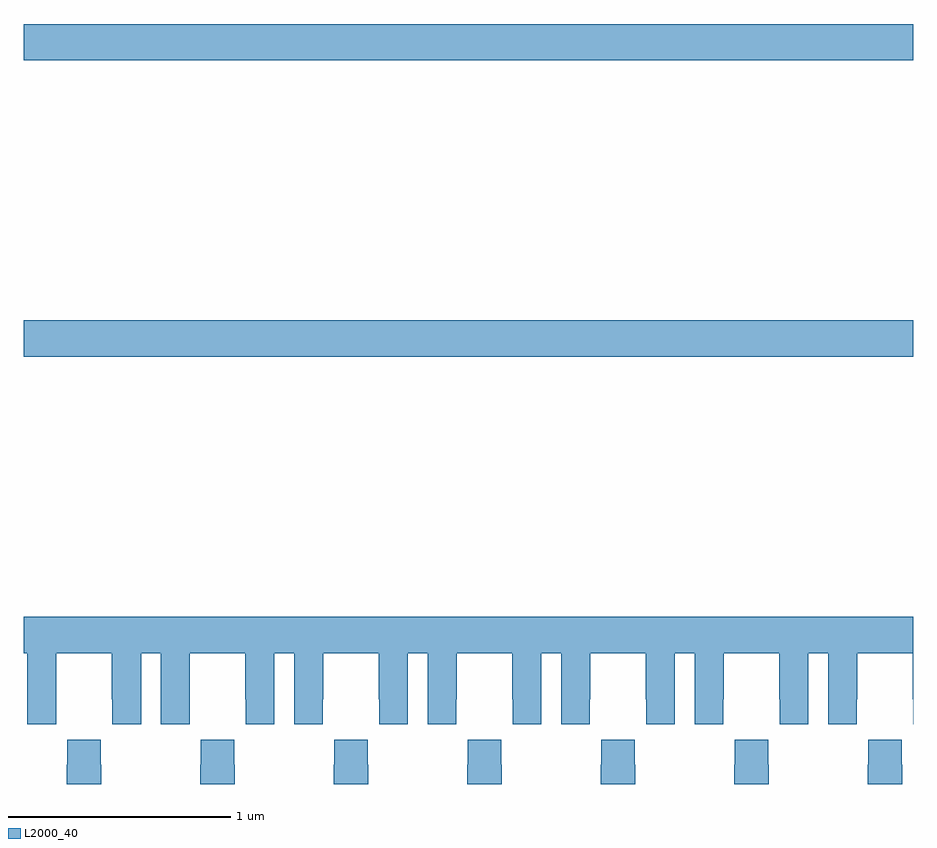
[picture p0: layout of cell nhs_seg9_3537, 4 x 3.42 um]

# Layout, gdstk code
import gdstk
lib = gdstk.Library(unit=1e-6, precision=1e-09)
def R(c, l, rs):  # rectangles x0, y0, x1, y1
    for r in rs: c.add(gdstk.rectangle(r[:2], r[2:], *l))
def P(c, l, *ps):  # polygons
    for p in ps: c.add(gdstk.Polygon(p, *l))
L2000_40 = (2000, 40)

nhs_seg9_3537 = lib.new_cell('nhs_seg9_3537')
R(nhs_seg9_3537, L2000_40, [(313,1196.42,317,1196.584), (313,1197.752,317,1197.916)])
P(nhs_seg9_3537, L2000_40, [(313,1195.088),(313.016,1195.088),(313.016,1194.768),(313.146,1194.768),(313.146,1194.88),(313.147,1194.88),(313.147,1195.088),(313.397,1195.088),(313.397,1194.88),(313.398,1194.88),(313.398,1194.768),(313.528,1194.768),(313.528,1195.088),(313.616,1195.088),(313.616,1194.768),(313.746,1194.768),(313.746,1194.88),(313.747,1194.88),(313.747,1195.088),(313.997,1195.088),(313.997,1194.88),(313.998,1194.88),(313.998,1194.768),(314.128,1194.768),(314.128,1195.088),(314.216,1195.088),(314.216,1194.768),(314.346,1194.768),(314.346,1194.88),(314.347,1194.88),(314.347,1195.088),(314.597,1195.088),(314.597,1194.88),(314.598,1194.88),(314.598,1194.768),(314.728,1194.768),(314.728,1195.088),(314.816,1195.088),(314.816,1194.768),(314.946,1194.768),(314.946,1194.88),(314.947,1194.88),(314.947,1195.088),(315.197,1195.088),(315.197,1194.88),(315.198,1194.88),(315.198,1194.768),(315.328,1194.768),(315.328,1195.088),(315.416,1195.088),(315.416,1194.768),(315.546,1194.768),(315.546,1194.88),(315.547,1194.88),(315.547,1195.088),(315.797,1195.088),(315.797,1194.88),(315.798,1194.88),(315.798,1194.768),(315.928,1194.768),(315.928,1195.088),(316.016,1195.088),(316.016,1194.768),(316.146,1194.768),(316.146,1194.88),(316.147,1194.88),(316.147,1195.088),(316.397,1195.088),(316.397,1194.88),(316.398,1194.88),(316.398,1194.768),(316.528,1194.768),(316.528,1195.088),(316.616,1195.088),(316.616,1194.768),(316.746,1194.768),(316.746,1194.88),(316.747,1194.88),(316.747,1195.088),(316.997,1195.088),(316.997,1194.88),(316.998,1194.88),(316.998,1194.768),(317,1194.768),(317,1195.252),(313,1195.252)],
  [(315.75,1194.587),(315.747,1194.587),(315.747,1194.7),(315.597,1194.7),(315.597,1194.587),(315.595,1194.587),(315.595,1194.5),(315.75,1194.5)],
  [(316.35,1194.587),(316.347,1194.587),(316.347,1194.7),(316.197,1194.7),(316.197,1194.587),(316.195,1194.587),(316.195,1194.5),(316.35,1194.5)],
  [(315.15,1194.587),(315.147,1194.587),(315.147,1194.7),(314.997,1194.7),(314.997,1194.587),(314.995,1194.587),(314.995,1194.5),(315.15,1194.5)],
  [(314.55,1194.587),(314.547,1194.587),(314.547,1194.7),(314.397,1194.7),(314.397,1194.587),(314.395,1194.587),(314.395,1194.5),(314.55,1194.5)],
  [(313.95,1194.587),(313.947,1194.587),(313.947,1194.7),(313.797,1194.7),(313.797,1194.587),(313.795,1194.587),(313.795,1194.5),(313.95,1194.5)],
  [(313.35,1194.587),(313.347,1194.587),(313.347,1194.7),(313.197,1194.7),(313.197,1194.587),(313.195,1194.587),(313.195,1194.5),(313.35,1194.5)],
  [(316.95,1194.587),(316.947,1194.587),(316.947,1194.7),(316.797,1194.7),(316.797,1194.587),(316.795,1194.587),(316.795,1194.5),(316.95,1194.5)])

lib.write_gds('nhs_seg9_3537.gds')
